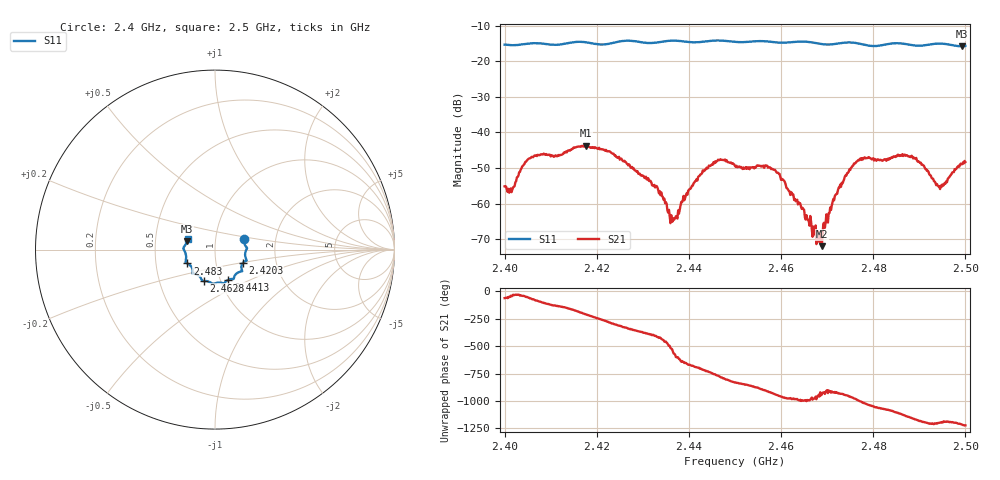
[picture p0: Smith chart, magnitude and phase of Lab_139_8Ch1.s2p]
# Hz S RI R 50
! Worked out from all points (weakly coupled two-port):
!   601 points, 2.4 GHz to 2.5 GHz, reference 50 ohm
!   highest |S21| = -43.76 dB at 2.4177 GHz (marker M1); lowest = -72.0 dB at 2.4688 GHz (marker M2)
!   lowest |S11| = -15.8 dB at 2.4992 GHz (marker M3), VSWR 1.39, Z = 36.5 + j3.55 ohm
!   |S11| at or under -10 dB: start of sweep to end of sweep
!   S12 and S22 are empty: the file has one direction only
!   S11 on the Smith chart (normalised r, x): 2.4 GHz: 1.37, +0.16; 2.4203 GHz: 1.35, -0.21; 2.4413 GHz: 1.09, -0.38; 2.4628 GHz: 0.83, -0.30; 2.483 GHz: 0.72, -0.11; 2.5 GHz: 0.73, +0.09
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2.4e9  0.1607 0.0571  0.000791 -0.00156  0 0  0 0
2.4015e9  0.1624 0.0405  0.000977 -0.00107  0 0  0 0
2.4055e9  0.1771 0.0113  0.00176 -0.00395  0 0  0 0
2.416667e9  0.1762 -0.0612  -0.00612 0.00188  0 0  0 0
2.417667e9  0.173 -0.0626  -0.00545 0.00352  0 0  0 0
2.420333e9  0.1554 -0.0741  -0.00206 0.00548  0 0  0 0
2.433333e9  0.1081 -0.1484  0.000803 -0.00133  0 0  0 0
2.4365e9  0.104 -0.1636  -0.000559 8.94e-05  0 0  0 0
2.441333e9  0.0744 -0.1682  0.00178 0.00102  0 0  0 0
2.4465e9  0.0487 -0.1887  0.00241 -0.00328  0 0  0 0
2.45e9  0.0293 -0.1838  -0.00126 -0.00313  0 0  0 0
2.458167e9  -0.0238 -0.1842  -0.00267 0.00148  0 0  0 0
2.462833e9  -0.0628 -0.1749  -0.00012 0.00112  0 0  0 0
2.466667e9  -0.0742 -0.1675  -0.000159 0.00041  0 0  0 0
2.468833e9  -0.0831 -0.1522  -0.000189 0.000168  0 0  0 0
2.475667e9  -0.1253 -0.1316  -0.000985 0.00328  0 0  0 0
2.483e9  -0.1548 -0.0768  0.00416 -5.12e-05  0 0  0 0
2.483333e9  -0.1571 -0.0759  0.00412 -0.000108  0 0  0 0
2.488833e9  -0.1606 -0.0431  0.000556 -0.00438  0 0  0 0
2.494333e9  -0.1763 0.00771  -0.000832 -0.00154  0 0  0 0
2.499167e9  -0.1547 0.0474  -0.00247 -0.00256  0 0  0 0
2.5e9  -0.1523 0.0587  -0.00304 -0.00233  0 0  0 0
